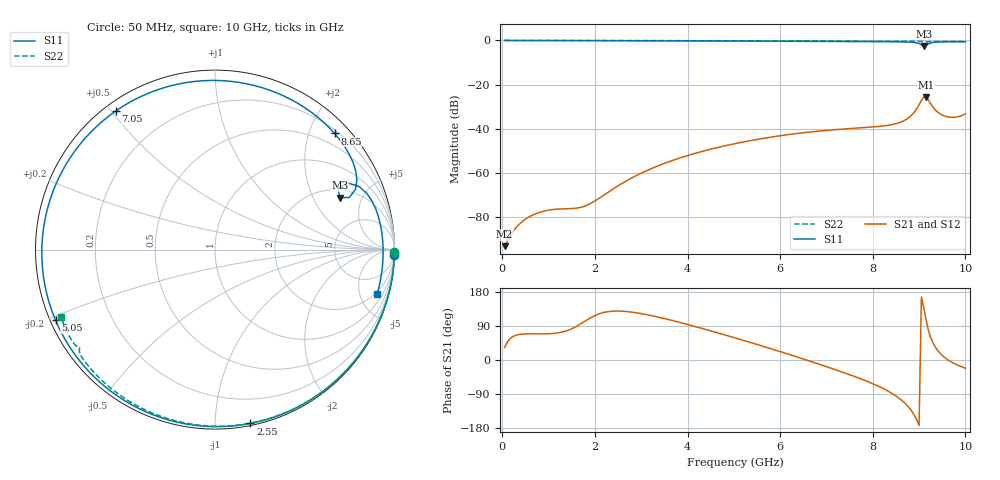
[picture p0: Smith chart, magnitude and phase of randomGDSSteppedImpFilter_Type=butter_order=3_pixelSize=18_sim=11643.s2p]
! freq	dB(S11)	phase(S11)	dB(S12)	phase(S12)
!  dB(S21)	phase(S21)	dB(S22)	phase(S22)
!S-par simulation data
#  GHz  S  DB  R 50
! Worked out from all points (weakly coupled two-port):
!   200 points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, 50 MHz to 10 GHz, reference 50 ohm
!   highest |S21| = -25.58 dB at 9.15 GHz (marker M1); lowest = -93.0 dB at 50 MHz (marker M2)
!   lowest |S11| = -2.5 dB at 9.1 GHz (marker M3), VSWR 7.08, Z = 122 + j163 ohm
!   |S11| at or under -10 dB: nowhere
!   |S22| runs from -0.6 to 0.0 dB; largest |S21 - S12| = 0
!   S11 on the Smith chart (normalised r, x): 50 MHz: 0, -73; 2.55 GHz: 0.01, -1.22; 5.05 GHz: 0.01, -0.21; 7.05 GHz: 0.03, +0.51; 8.65 GHz: 0.26, +2.44; 10 GHz: 1.71, -6.95
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0.05  -0.00 -1.6  -92.98 33.1  -92.98 33.1  -0.00 -0.9
0.55  -0.02 -17.3  -80.10 69.1  -80.10 69.1  -0.01 -10.0
0.85  -0.03 -26.6  -77.42 68.9  -77.42 68.9  -0.02 -15.4
1.75  -0.07 -54.3  -75.10 99.7  -75.10 99.7  -0.04 -31.3
2.55  -0.10 -78.5  -65.05 129.0  -65.05 129.0  -0.06 -45.1
3.4  -0.14 -104.1  -56.36 112.3  -56.36 112.3  -0.08 -59.3
4.2  -0.19 -128.6  -50.82 87.1  -50.82 87.1  -0.10 -72.2
5.05  -0.25 -156.1  -46.53 57.5  -46.53 57.5  -0.13 -85.4
5.9  -0.33 173.7  -43.37 26.0  -43.37 26.0  -0.17 -98.1
6.7  -0.41 141.3  -41.24 -5.2  -41.24 -5.2  -0.21 -109.7
7.05  -0.45 125.6  -40.55 -19.6  -40.55 -19.6  -0.24 -114.7
7.75  -0.51 91.7  -39.50 -50.2  -39.50 -50.2  -0.29 -124.5
8.35  -0.57 60.4  -38.30 -83.4  -38.30 -83.4  -0.34 -132.9
8.65  -0.64 44.1  -36.51 -109.1  -36.51 -109.1  -0.37 -137.2
8.8  -0.75 35.6  -34.52 -128.2  -34.52 -128.2  -0.39 -139.4
8.95  -1.09 26.3  -30.81 -157.8  -30.81 -157.8  -0.43 -141.7
9.1  -2.47 22.6  -25.63 138.3  -25.63 138.3  -0.58 -143.8
9.15  -2.31 26.5  -25.58 106.3  -25.58 106.3  -0.60 -144.0
9.25  -1.15 23.7  -28.60 59.3  -28.60 59.3  -0.54 -144.9
9.5  -0.61 8.4  -33.73 12.1  -33.73 12.1  -0.50 -148.6
9.75  -0.56 -4.1  -34.73 -8.8  -34.73 -8.8  -0.52 -152.4
10  -0.57 -15.5  -33.16 -21.9  -33.16 -21.9  -0.58 -156.4
